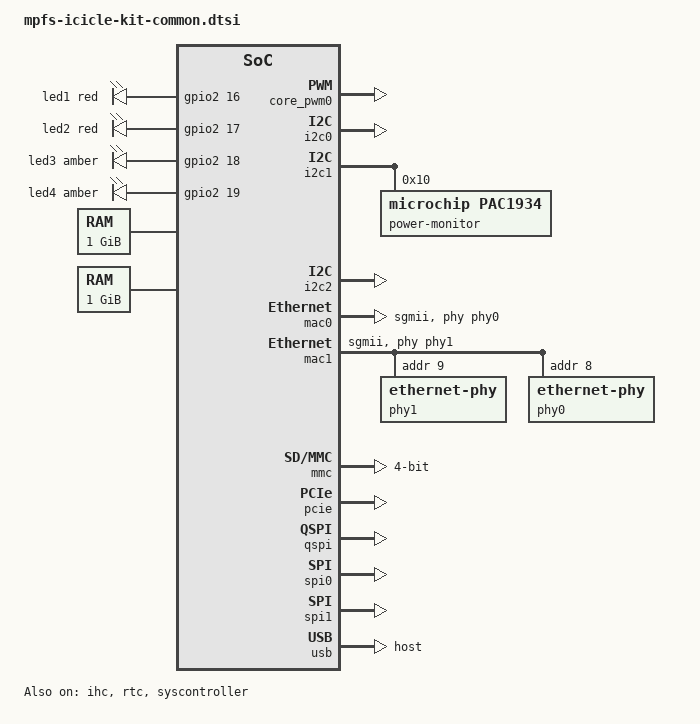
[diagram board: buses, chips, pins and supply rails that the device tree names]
// SPDX-License-Identifier: (GPL-2.0 OR MIT)
/* Copyright (c) 2025 Microchip Technology Inc */

/dts-v1/;

#include "mpfs-icicle-kit-fabric.dtsi"
#include <dt-bindings/gpio/gpio.h>
#include <dt-bindings/leds/common.h>

/ {
	aliases {
		ethernet0 = &mac1;
		serial0 = &mmuart0;
		serial1 = &mmuart1;
		serial2 = &mmuart2;
		serial3 = &mmuart3;
		serial4 = &mmuart4;
	};

	chosen {
		stdout-path = "serial1:115200n8";
	};

	leds {
		compatible = "gpio-leds";

		led-1 {
			gpios = <&gpio2 16 GPIO_ACTIVE_HIGH>;
			color = <LED_COLOR_ID_RED>;
			label = "led1";
		};

		led-2 {
			gpios = <&gpio2 17 GPIO_ACTIVE_HIGH>;
			color = <LED_COLOR_ID_RED>;
			label = "led2";
		};

		led-3 {
			gpios = <&gpio2 18 GPIO_ACTIVE_HIGH>;
			color = <LED_COLOR_ID_AMBER>;
			label = "led3";
		};

		led-4 {
			gpios = <&gpio2 19 GPIO_ACTIVE_HIGH>;
			color = <LED_COLOR_ID_AMBER>;
			label = "led4";
		};
	};

	ddrc_cache_lo: memory@80000000 {
		device_type = "memory";
		reg = <0x0 0x80000000 0x0 0x40000000>;
	};

	ddrc_cache_hi: memory@1040000000 {
		device_type = "memory";
		reg = <0x10 0x40000000 0x0 0x40000000>;
	};

	reserved-memory {
		#address-cells = <2>;
		#size-cells = <2>;
		ranges;

		hss_payload: region@bfc00000 {
			reg = <0x0 0xbfc00000 0x0 0x400000>;
			no-map;
		};
	};
};

&core_pwm0 {
	status = "okay";
};

&gpio2 {
	status = "okay";
};

&i2c0 {
	status = "okay";
};

&i2c1 {
	status = "okay";

	power-monitor@10 {
		compatible = "microchip,pac1934";
		reg = <0x10>;

		#address-cells = <1>;
		#size-cells = <0>;

		channel@1 {
			reg = <0x1>;
			shunt-resistor-micro-ohms = <10000>;
			label = "VDDREG";
		};

		channel@2 {
			reg = <0x2>;
			shunt-resistor-micro-ohms = <10000>;
			label = "VDDA25";
		};

		channel@3 {
			reg = <0x3>;
			shunt-resistor-micro-ohms = <10000>;
			label = "VDD25";
		};

		channel@4 {
			reg = <0x4>;
			shunt-resistor-micro-ohms = <10000>;
			label = "VDDA_REG";
		};
	};
};

&i2c2 {
	status = "okay";
};

&ihc {
	status = "okay";
};

&irqmux {
	interrupt-map = <0 &plic 13>, <1 &plic 14>, <2 &plic 15>,
			<3 &plic 16>, <4 &plic 17>, <5 &plic 18>,
			<6 &plic 19>, <7 &plic 20>, <8 &plic 21>,
			<9 &plic 22>, <10 &plic 23>, <11 &plic 24>,
			<12 &plic 25>, <13 &plic 26>,

			<32 &plic 27>, <33 &plic 28>, <34 &plic 29>,
			<35 &plic 30>, <36 &plic 31>, <37 &plic 32>,
			<38 &plic 33>, <39 &plic 34>, <40 &plic 35>,
			<41 &plic 36>, <42 &plic 37>, <43 &plic 38>,
			<44 &plic 39>, <45 &plic 40>, <46 &plic 41>,
			<47 &plic 42>, <48 &plic 43>, <49 &plic 44>,
			<50 &plic 45>, <51 &plic 46>, <52 &plic 47>,
			<53 &plic 48>, <54 &plic 49>, <55 &plic 50>,

			<64 &plic 53>, <65 &plic 53>, <66 &plic 53>,
			<67 &plic 53>, <68 &plic 53>, <69 &plic 53>,
			<70 &plic 53>, <71 &plic 53>, <72 &plic 53>,
			<73 &plic 53>, <74 &plic 53>, <75 &plic 53>,
			<76 &plic 53>, <77 &plic 53>, <78 &plic 53>,
			<79 &plic 53>, <80 &plic 53>, <81 &plic 53>,
			<82 &plic 53>, <83 &plic 53>, <84 &plic 53>,
			<85 &plic 53>, <86 &plic 53>, <87 &plic 53>,
			<88 &plic 53>, <89 &plic 53>, <90 &plic 53>,
			<91 &plic 53>, <92 &plic 53>, <93 &plic 53>,
			<94 &plic 53>, <95 &plic 53>;
};

&mac0 {
	phy-mode = "sgmii";
	phy-handle = <&phy0>;
	status = "okay";
};

&mac1 {
	phy-mode = "sgmii";
	phy-handle = <&phy1>;
	status = "okay";

	phy1: ethernet-phy@9 {
		reg = <9>;
	};

	phy0: ethernet-phy@8 {
		reg = <8>;
	};
};

&mbox {
	status = "okay";
};

&mmc {
	bus-width = <4>;
	disable-wp;
	cap-sd-highspeed;
	cap-mmc-highspeed;
	mmc-ddr-1_8v;
	mmc-hs200-1_8v;
	sd-uhs-sdr12;
	sd-uhs-sdr25;
	sd-uhs-sdr50;
	sd-uhs-sdr104;
	status = "okay";
};

&mmuart1 {
	status = "okay";
};

&mmuart2 {
	status = "okay";
};

&mmuart3 {
	status = "okay";
};

&mmuart4 {
	status = "okay";
};

&pcie {
	status = "okay";
};

&qspi {
	status = "okay";
};

&refclk {
	clock-frequency = <125000000>;
};

&refclk_ccc {
	clock-frequency = <50000000>;
};

&rtc {
	status = "okay";
};

&spi0 {
	status = "okay";
};

&spi1 {
	status = "okay";
};

&syscontroller {
	status = "okay";
};

&syscontroller_qspi {
	/*
	 * The flash *is* there, but Icicle kits that have engineering sample
	 * silicon (write?) access to this flash to non-functional. The system
	 * controller itself can actually access it, but the MSS cannot write
	 * an image there. Instantiating a coreQSPI in the fabric & connecting
	 * it to the flash instead should work though. Pre-production or later
	 * silicon does not have this issue.
	 */
	status = "disabled";

	sys_ctrl_flash: flash@0 { // MT25QL01GBBB8ESF-0SIT
		compatible = "jedec,spi-nor";
		#address-cells = <1>;
		#size-cells = <1>;
		spi-max-frequency = <20000000>;
		spi-rx-bus-width = <1>;
		reg = <0>;
	};
};

&usb {
	status = "okay";
	dr_mode = "host";
};
